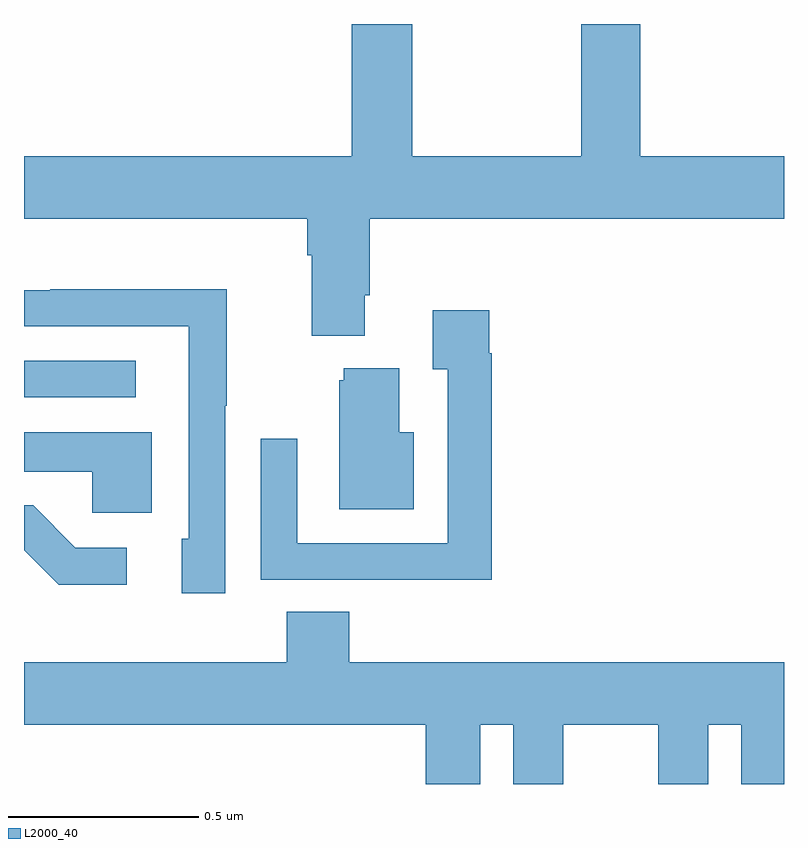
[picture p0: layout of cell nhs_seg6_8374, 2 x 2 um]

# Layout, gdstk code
import gdstk
lib = gdstk.Library(unit=1e-6, precision=1e-09)
def R(c, l, rs):  # rectangles x0, y0, x1, y1
    for r in rs: c.add(gdstk.rectangle(r[:2], r[2:], *l))
def P(c, l, *ps):  # polygons
    for p in ps: c.add(gdstk.Polygon(p, *l))
L2000_40 = (2000, 40)

nhs_seg6_8374 = lib.new_cell('nhs_seg6_8374')
R(nhs_seg6_8374, L2000_40, [(220,961.518,220.294,961.614)])
P(nhs_seg6_8374, L2000_40, [(220.897,961.786),(220.91,961.786),(220.91,961.988),(222,961.988),(222,962.152),(221.622,962.152),(221.622,962.5),(221.467,962.5),(221.467,962.152),(221.022,962.152),(221.022,962.5),(220.862,962.5),(220.862,962.152),(220,962.152),(220,961.988),(220.745,961.988),(220.745,961.892),(220.757,961.892),(220.757,961.679),(220.897,961.679)],
  [(220.53,961.495),(220.533,961.495),(220.533,961.802),(220.069,961.802),(220.069,961.8),(220,961.8),(220,961.704),(220.433,961.704),(220.433,961.45),(220.434,961.45),(220.434,961.146),(220.415,961.146),(220.415,961.002),(220.53,961.002)],
  [(221.231,961.634),(221.224,961.634),(221.224,961.747),(221.075,961.747),(221.075,961.591),(221.115,961.591),(221.115,961.134),(220.719,961.134),(220.719,961.408),(220.623,961.408),(220.623,961.038),(220.939,961.038),(220.939,961.037),(221.231,961.037)],
  [(221.026,961.426),(220.987,961.426),(220.987,961.594),(220.841,961.594),(220.841,961.563),(220.829,961.563),(220.829,961.223),(221.026,961.223)],
  [(220.336,961.426),(220,961.426),(220,961.322),(220.179,961.322),(220.179,961.214),(220.336,961.214)],
  [(220.27,961.122),(220.135,961.122),(220.024,961.233),(220,961.233),(220,961.115),(220.091,961.025),(220.27,961.025)],
  [(221.2,960.656),(221.288,960.656),(221.288,960.5),(221.419,960.5),(221.419,960.656),(221.669,960.656),(221.669,960.5),(221.8,960.5),(221.8,960.656),(221.888,960.656),(221.888,960.5),(222,960.5),(222,960.82),(220.856,960.82),(220.856,960.953),(220.691,960.953),(220.691,960.82),(220,960.82),(220,960.656),(221.057,960.656),(221.057,960.5),(221.2,960.5)])

lib.write_gds('nhs_seg6_8374.gds')
